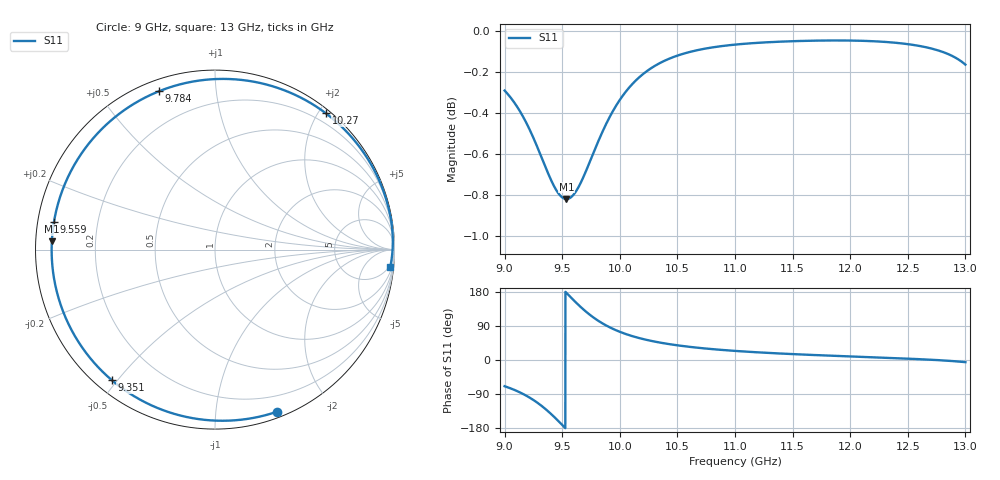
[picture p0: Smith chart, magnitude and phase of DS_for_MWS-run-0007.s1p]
! TOUCHSTONE file generated by CST DESIGN STUDIO
! Date and time: Tue Feb  4 13:46:38 2025
! Project name: C:\Work\MatlabApps\UnitCellOptimizationMatlab\CST\unitcell.cst
! Tree item: Tasks\Sweep1\SPara1\S-Parameters
! Header version: 2024
! Port assignment regex: !\s*Touchstone port\s*([0-9]+)\s*=\s*(CST MWS port|CST DES external port|CST DES block port)\s*(.+)\s* \(\"(.*)\"\)(\s*mode\s*([0-9]+))?.*
! Touchstone port assignment:
! Touchstone port 1 = CST DES external port 1 ("")
# GHz S MA R 50
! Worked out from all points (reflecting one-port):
!   4001 points, 9 GHz to 13 GHz, reference 50 ohm
!   lowest |S11| = -0.8 dB at 9.537 GHz (marker M1), VSWR 21.25, Z = 2.35 + j1.29 ohm
!   phase of S11 starts at -69 deg and turns -297 deg over the sweep
!   S11 on the Smith chart (normalised r, x): 9 GHz: 0.05, -1.45; 9.351 GHz: 0.05, -0.48; 9.559 GHz: 0.05, +0.09; 9.784 GHz: 0.05, +0.71; 10.27 GHz: 0.06, +2.10; 13 GHz: 4, -19
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9  0.9671 -69.1
9.1  0.9592 -80.9
9.208  0.9473 -97.6
9.283  0.9371 -112.4
9.351  0.9271 -128.4
9.391  0.9214 -139.0
9.433  0.9162 -151.0
9.467  0.913 -161.2
9.5  0.9109 -171.4
9.537  0.9101 177.0
9.559  0.9104 170.1
9.613  0.9134 153.6
9.675  0.9202 135.9
9.728  0.9275 122.2
9.784  0.9358 109.4
9.829  0.9422 100.4
9.878  0.9487 91.7
10  0.962 74.4
10.124  0.9716 61.6
10.266  0.979 50.9
10.5  0.9862 38.7
10.721  0.9898 31.0
11  0.9922 24.0
11.5  0.9941 15.6
12  0.9945 9.4
12.5  0.9925 3.5
12.786  0.9886 -0.8
13  0.9812 -5.7
